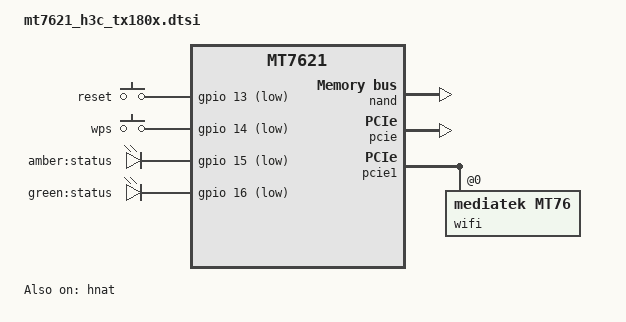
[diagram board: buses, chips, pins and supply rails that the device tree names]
// SPDX-License-Identifier: GPL-2.0-or-later OR MIT

#include "mt7621.dtsi"

#include <dt-bindings/gpio/gpio.h>
#include <dt-bindings/input/input.h>

/ {
	aliases {
		led-boot = &led_status_amber;
		led-failsafe = &led_status_green;
		led-running = &led_status_green;
		led-upgrade = &led_status_amber;
	};

	chosen {
		bootargs = "console=ttyS0,115200";
		bootargs-override = "console=ttyS0,115200";
	};

	keys {
		compatible = "gpio-keys";

		reset {
			label = "reset";
			gpios = <&gpio 13 GPIO_ACTIVE_LOW>;
			linux,code = <KEY_RESTART>;
		};

		wps {
			label = "wps";
			gpios = <&gpio 14 GPIO_ACTIVE_LOW>;
			linux,code = <KEY_WPS_BUTTON>;
		};
	};

	leds {
		compatible = "gpio-leds";

		led_status_amber: led-0 {
			label = "amber:status";
			gpios = <&gpio 15 GPIO_ACTIVE_LOW>;
		};

		led_status_green: led-1 {
			label = "green:status";
			gpios = <&gpio 16 GPIO_ACTIVE_LOW>;
		};
	};
};

&nand {
	status = "okay";

	mediatek,nmbm;
	mediatek,bmt-max-ratio = <1>;
	mediatek,bmt-max-reserved-blocks = <64>;
	mediatek,bmt-remap-range = <0x0000000 0x0a00000>;

	partitions {
		compatible = "fixed-partitions";
		#address-cells = <1>;
		#size-cells = <1>;

		partition@0 {
			label = "u-boot";
			reg = <0x0000000 0x0080000>;
			read-only;
		};

		partition@80000 {
			label = "u-boot-env";
			reg = <0x0080000 0x0080000>;
		};

		partition@100000 {
			label = "exp";
			reg = <0x0100000 0x0080000>;
			read-only;
		};

		factory: partition@180000 {
			label = "factory";
			reg = <0x0180000 0x0080000>;
			read-only;
		};

		partition@200000 {
			label = "firmware";
			reg = <0x0200000 0x7600000>;

			compatible = "fixed-partitions";
			#address-cells = <1>;
			#size-cells = <1>;

			partition@0 {
				label = "kernel";
				reg = <0x0000000 0x0800000>;
			};

			partition@800000 {
				label = "ubi";
				reg = <0x0800000 0x6e00000>;
			};
		};

		/* last 8 MiB is reserved for NMBM bad block table */
	};
};

&pcie {
	status = "okay";
};

&pcie1 {
	wifi@0,0 {
		compatible = "mediatek,mt76";
		reg = <0x0000 0 0 0 0>;
		mediatek,mtd-eeprom = <&factory 0x0>;
		mediatek,disable-radar-background;
	};
};

&pcie2 {
	status = "disabled";
};

&state_default {
	gpio {
		groups = "jtag";
		function = "gpio";
	};
};

&gsw {
		mediatek,mdio = <&mdio>;
		mediatek,portmap = "llllw";
		mediatek,mcm;
		mt7530,direct-phy-access;

		resets = <&rstctrl 2>;
		reset-names = "mcm";

		port5: port@5 {
				compatible = "mediatek,mt753x-port";
				reg = <5>;
				phy-mode = "rgmii";
				fixed-link {
						speed = <1000>;
						full-duplex;
				};
		};

		port6: port@6 {
				compatible = "mediatek,mt753x-port";
				reg = <6>;
				phy-mode = "rgmii";
				fixed-link {
						speed = <1000>;
						full-duplex;
				};
		};

		mdio-bus {
				#address-cells = <1>;
				#size-cells = <0>;
		};
};

&switch0 {
	/* must delete compatible property */
	/delete-property/ compatible;
};

&hnat {
		mtketh-wan = "eth1";
		mtketh-ppd = "eth0";
		mtketh-lan = "eth0";
		ext-devices = "wlan0","wlan1","rax0","ra0", "rai0","apclii0","apclix0", "apcli0";
		mtketh-max-gmac = <2>;
		status = "okay";
};

&xhci {
	status = "disabled";
};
